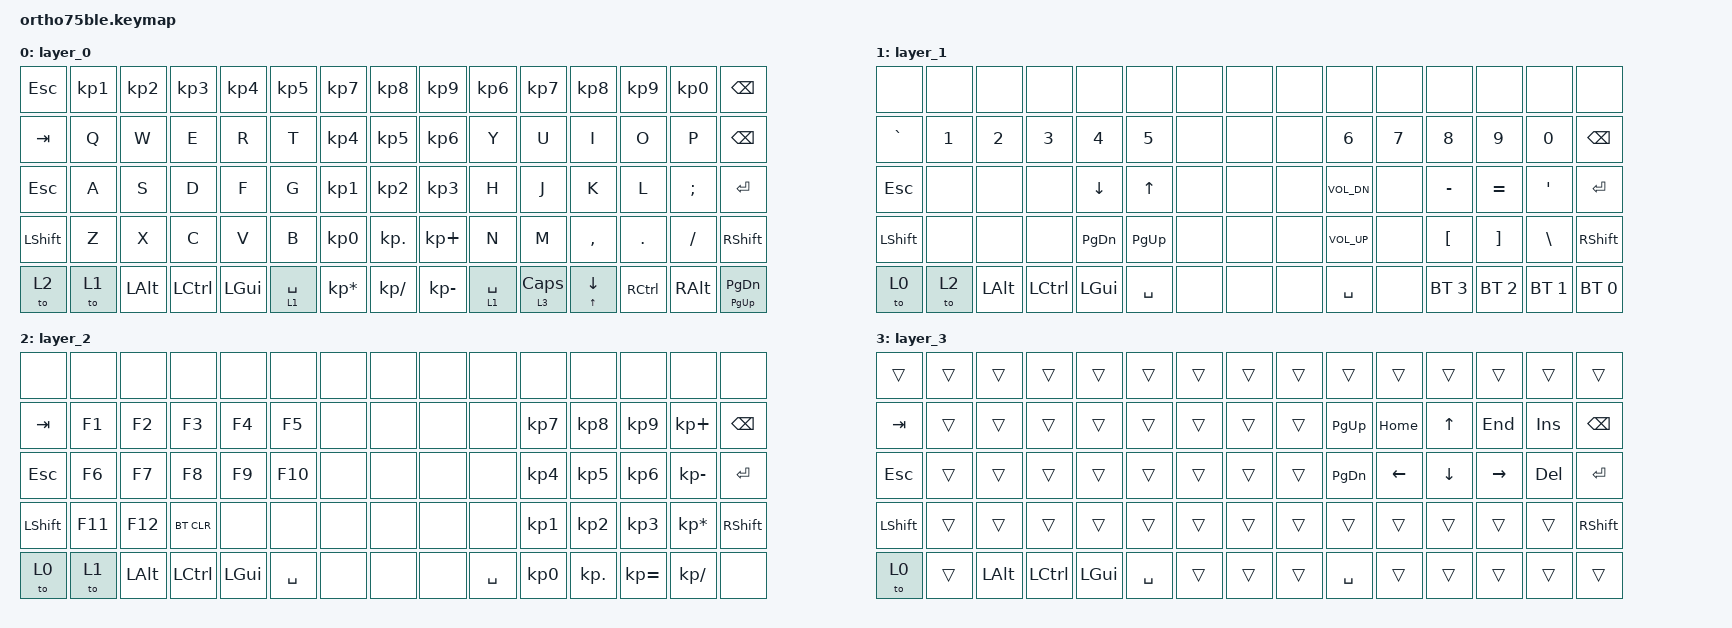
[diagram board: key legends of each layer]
/*
 * Copyright (c) 2021 The ZMK Contributors
 *
 * SPDX-License-Identifier: MIT
 */

#include <behaviors.dtsi>
#include <dt-bindings/zmk/bt.h>
#include <dt-bindings/zmk/keys.h>

&lt {
    flavor = "balanced";
    tapping-term-ms = <170>;
};

/ {
    combos { compatible = "zmk,combos"; };

    keymap {
        compatible = "zmk,keymap";

        layer_0 {
            bindings = <
&kp ESC    &kp KP_NUMBER_1  &kp KP_NUMBER_2  &kp KP_NUMBER_3  &kp KP_NUMBER_4  &kp KP_NUMBER_5  &kp KP_N7        &kp KP_N8     &kp KP_N9     &kp KP_NUMBER_6  &kp KP_NUMBER_7  &kp KP_NUMBER_8  &kp KP_NUMBER_9  &kp KP_NUMBER_0  &kp BSPC
&kp TAB    &kp Q            &kp W            &kp E            &kp R            &kp T            &kp KP_N4        &kp KP_N5     &kp KP_N6     &kp Y            &kp U            &kp I            &kp O            &kp P            &kp BSPC
&kp ESC    &kp A            &kp S            &kp D            &kp F            &kp G            &kp KP_N1        &kp KP_N2     &kp KP_N3     &kp H            &kp J            &kp K            &kp L            &kp SEMI         &kp ENTER
&kp LSHFT  &kp Z            &kp X            &kp C            &kp V            &kp B            &kp KP_N0        &kp KP_DOT    &kp KP_PLUS   &kp N            &kp M            &kp COMMA        &kp DOT          &kp FSLH         &kp RSHFT
&to 2      &to 1            &kp LALT         &kp LCTRL        &kp LGUI         &lt 1 SPACE      &kp KP_MULTIPLY  &kp KP_SLASH  &kp KP_MINUS  &lt 1 SPACE      &lt 3 CAPS       &mt UP DOWN      &kp RCTRL        &kp RALT         &mt PG_UP PG_DN
            >;
        };

        layer_1 {
            bindings = <
&none      &none   &none     &none      &none      &none      &none  &none  &none  &none         &none   &none         &none         &none         &none
&kp GRAVE  &kp N1  &kp N2    &kp N3     &kp N4     &kp N5     &none  &none  &none  &kp N6        &kp N7  &kp N8        &kp N9        &kp N0        &kp BSPC
&kp ESC    &none   &none     &none      &kp DOWN   &kp UP     &none  &none  &none  &kp C_VOL_DN  &none   &kp MINUS     &kp EQUAL     &kp SQT       &kp ENTER
&kp LSHFT  &none   &none     &none      &kp PG_DN  &kp PG_UP  &none  &none  &none  &kp C_VOL_UP  &none   &kp LBKT      &kp RBKT      &kp BSLH      &kp RSHFT
&to 0      &to 2   &kp LALT  &kp LCTRL  &kp LGUI   &kp SPACE  &none  &none  &none  &kp SPACE     &none   &bt BT_SEL 3  &bt BT_SEL 2  &bt BT_SEL 1  &bt BT_SEL 0
            >;
        };

        layer_2 {
            bindings = <
&none      &none    &none     &none       &none     &none      &none  &none  &none  &none      &none            &none            &none            &none            &none
&kp TAB    &kp F1   &kp F2    &kp F3      &kp F4    &kp F5     &none  &none  &none  &none      &kp KP_NUMBER_7  &kp KP_NUMBER_8  &kp KP_NUMBER_9  &kp KP_PLUS      &kp BSPC
&kp ESC    &kp F6   &kp F7    &kp F8      &kp F9    &kp F10    &none  &none  &none  &none      &kp KP_NUMBER_4  &kp KP_NUMBER_5  &kp KP_NUMBER_6  &kp KP_MINUS     &kp ENTER
&kp LSHFT  &kp F11  &kp F12   &bt BT_CLR  &none     &none      &none  &none  &none  &none      &kp KP_NUMBER_1  &kp KP_NUMBER_2  &kp KP_NUMBER_3  &kp KP_MULTIPLY  &kp RSHFT
&to 0      &to 1    &kp LALT  &kp LCTRL   &kp LGUI  &kp SPACE  &none  &none  &none  &kp SPACE  &kp KP_NUMBER_0  &kp KP_DOT       &kp KP_EQUAL     &kp KP_SLASH     &none
            >;
        };

        layer_3 {
            bindings = <
&trans     &trans  &trans    &trans     &trans    &trans     &trans  &trans  &trans  &trans     &trans    &trans    &trans     &trans   &trans
&kp TAB    &trans  &trans    &trans     &trans    &trans     &trans  &trans  &trans  &kp PG_UP  &kp HOME  &kp UP    &kp END    &kp INS  &kp BSPC
&kp ESC    &trans  &trans    &trans     &trans    &trans     &trans  &trans  &trans  &kp PG_DN  &kp LEFT  &kp DOWN  &kp RIGHT  &kp DEL  &kp ENTER
&kp LSHFT  &trans  &trans    &trans     &trans    &trans     &trans  &trans  &trans  &trans     &trans    &trans    &trans     &trans   &kp RSHFT
&to 0      &trans  &kp LALT  &kp LCTRL  &kp LGUI  &kp SPACE  &trans  &trans  &trans  &kp SPACE  &trans    &trans    &trans     &trans   &trans
            >;
        };
    };
};
